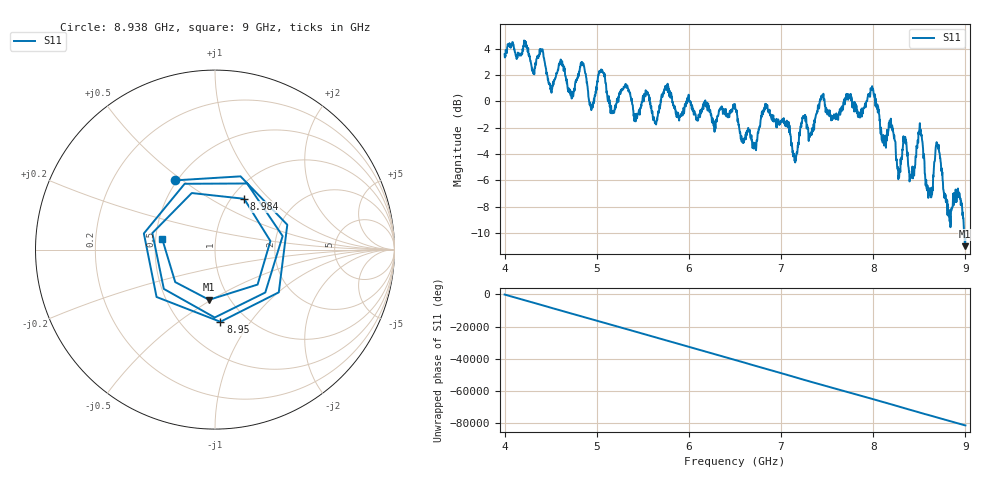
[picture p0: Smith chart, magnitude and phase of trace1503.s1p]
! Created with skrf 1.8.0 (http://scikit-rf.org).
# Hz S RI R 50.0
!freq ReS11 ImS11
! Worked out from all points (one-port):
!   1601 points, 4 GHz to 9 GHz, reference 50 ohm
!   lowest |S11| = -11.0 dB at 8.994 GHz (marker M1), VSWR 1.78, Z = 40.2 - j24.4 ohm
!   |S11| at or under -10 dB: 8.98687 GHz to end of sweep
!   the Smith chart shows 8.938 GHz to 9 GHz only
!   S11 on the Smith chart (normalised r, x): 8.938 GHz: 0.49, +0.47; 8.95 GHz: 0.76, -0.73; 8.984 GHz: 1.14, +0.72; 9 GHz: 0.54, +0.07
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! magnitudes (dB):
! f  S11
! 4 GHz  3.6
! 4.625 GHz  3.1
! 4.728 GHz  0.2
! 4.847 GHz  2.8
! 4.941 GHz  -0.7
! 5.047 GHz  2.4
! 5.166 GHz  -0.9
! 5.25 GHz  0.7
! 5.875 GHz  -1.2
! 6.5 GHz  -0.2
! 6.584 GHz  -3.2
! 6.841 GHz  -0.4
! 7.125 GHz  -3.9
! 7.444 GHz  0.4
! 7.75 GHz  0.5
! 7.994 GHz  1.0
! 8.269 GHz  -5.0
! 8.375 GHz  -4.4
! 8.419 GHz  -5.6
! 8.509 GHz  -2.3
! 8.606 GHz  -6.8
! 8.697 GHz  -3.3
! 8.822 GHz  -8.3
! 8.938 GHz  -7.0
! 8.95 GHz  -7.9
! 8.984 GHz  -9.7
! 8.994 GHz  -11.0
! 9 GHz  -10.5
